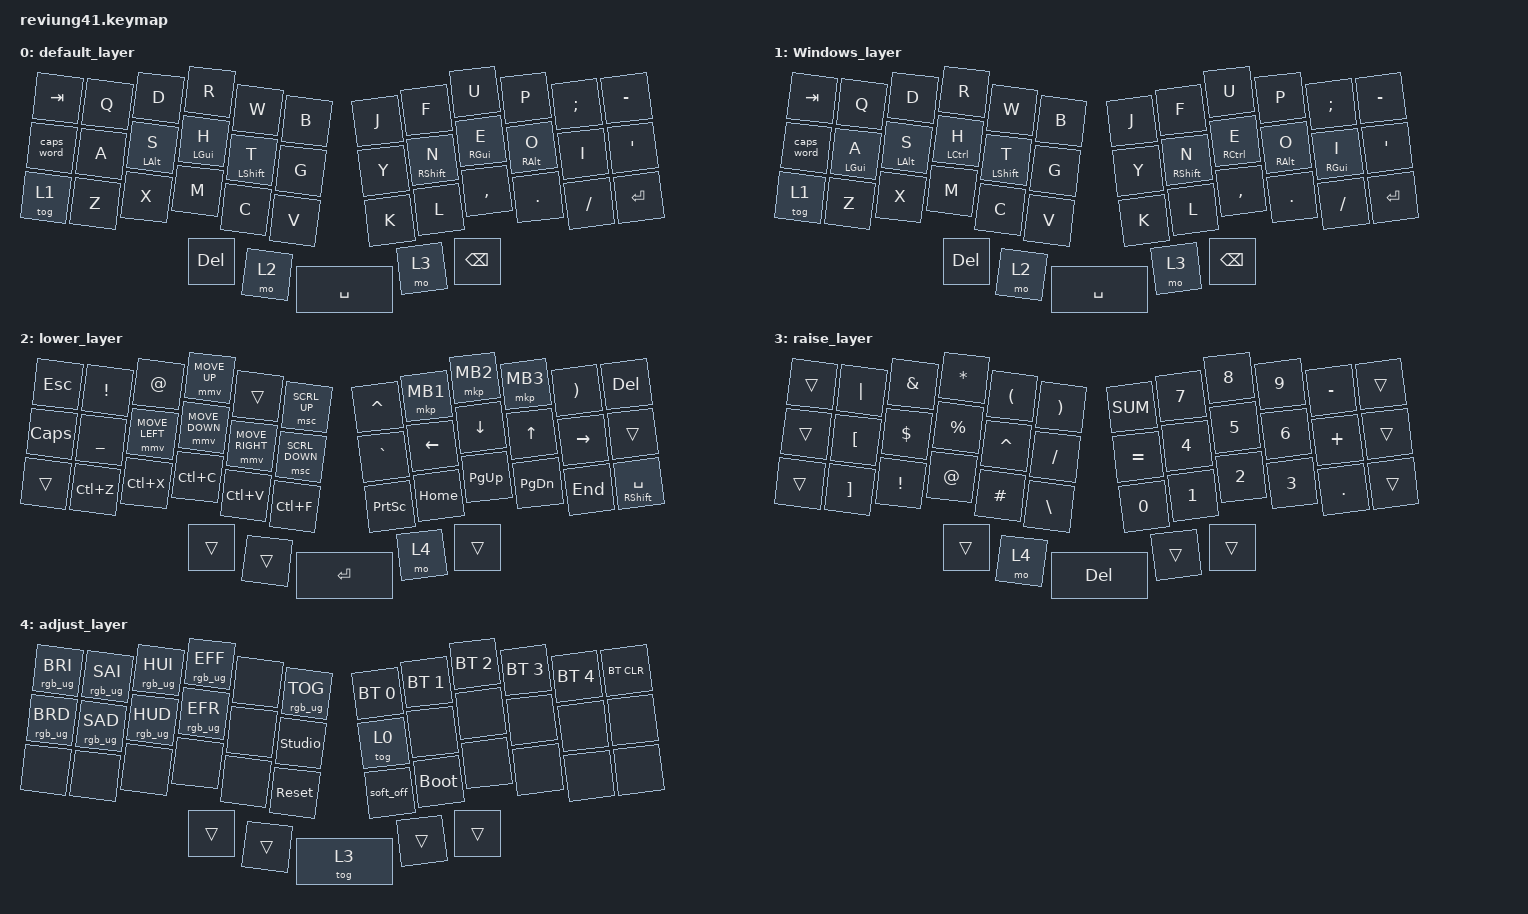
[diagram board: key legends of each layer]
/*
 * Copyright (c) 2020 The ZMK Contributors
 *
 * SPDX-License-Identifier: MIT
 */

#include <behaviors.dtsi>
#include <dt-bindings/zmk/keys.h>
#include <dt-bindings/zmk/bt.h>
#include <dt-bindings/zmk/rgb.h>
#include <dt-bindings/zmk/outputs.h>
#include <dt-bindings/zmk/backlight.h>
#include <dt-bindings/zmk/rgb.h>
#include <dt-bindings/zmk/pointing.h>
#define ZMK_POINTING_DEFAULT_MOVE_VAL 1500  // default: 600
#define ZMK_POINTING_DEFAULT_SCRL_VAL 20    // default: 10

&led_strip {
    chain-length = <11>;
};

/ {
    macros {
        SUM: SUM {
            compatible = "zmk,behavior-macro";
            #binding-cells = <0>;
            bindings
                = <&macro_tap &kp S &kp U &kp M &kp EQUAL &kp LPAR &kp RPAR &kp RIGHT>
                ;
        };
    };
};

/ {
    behaviors {
        bhm: balanced_homerow_mods {
            compatible = "zmk,behavior-hold-tap";
            #binding-cells = <2>;
            tapping-term-ms = <200>;    // <---[[moderate duration]]
            quick-tap-ms = <0>;
            flavor = "balanced";
            bindings = <&kp>, <&kp>;
        };
    };
};
/{
        keymap {
                compatible = "zmk,keymap";

                default_layer {
// -------------------------------------------------------------------------------------
// |  TAB     | Q      | D      | R       | W        |  B  |   |  J  |  F        |  U       |  P      |  ;     |    -   |
// | CpsWrd   | A | S(Alt) | H(GUI) | T(shift) |  G  |   |  Y  |  N(GUI) |  E(Ctrl) |  O(Alt) | I | '      |
// | TglLower | Z      | X      | M       | C        |  V  |   |  K  |  L        |  ,       |  .      |  /     | RETURN |
//                                      | DEL | LWR |  SPC  | RSE  | BSPC |
                        bindings = <
   &kp TAB    &kp Q &kp D &kp R &kp W         &kp B   &kp J &kp F        &kp U     &kp P    &kp SEMI &kp MINUS
   &caps_word &kp A &bhm LALT S &bhm LGUI H &bhm LSHIFT T &kp G   &kp Y &bhm RSHFT N &bhm RGUI E &bhm RALT O &kp I    &kp SQT
   &tog 1  &kp Z &kp X &kp M &kp C         &kp V   &kp K &kp L        &kp COMMA &kp DOT  &kp FSLH &kp RETURN
                       &kp DEL  &mo 2 &kp SPACE &mo 3  &kp BSPC
                        >;
                };

                Windows_layer {
// -------------------------------------------------------------------------------------
// |  TAB     | Q      | D      | R       | W        |  B  |   |  J  |  F        |  U       |  P      |  ;     |    -   |
// | CpsWrd   | A(GUI) | S(Alt) | H(Ctrl) | T(shift) |  G  |   |  Y  |  N(shift) |  E(ctrl) |  O(Alt) | I(GUI) | '      |
// | TglLower | Z      | X      | M       | C        |  V  |   |  K  |  L        |  ,       |  .      |  /     | RETURN |
//                                      | DEL | LWR |  SPC  | RSE  | BSPC |
                        bindings = <
   &kp TAB    &kp Q &kp D &kp R &kp W         &kp B   &kp J &kp F        &kp U     &kp P    &kp SEMI &kp MINUS
   &caps_word &bhm LGUI A &bhm LALT S &bhm LCTRL H &bhm LSHIFT T &kp G   &kp Y &bhm RSHFT N &bhm RCTRL E &bhm RALT O &bhm RGUI I    &kp SQT
   &tog 1  &kp Z &kp X &kp M &kp C         &kp V   &kp K &kp L        &kp COMMA &kp DOT  &kp FSLH &kp RETURN
                       &kp DEL  &mo 2 &kp SPACE &mo 3  &kp BSPC
                        >;
                };


                lower_layer {
// ------------------------------------------------------------------------------------
// | ESC     |  !  |  @    | UP   |      | scrlup   |   |  ^  | LCLK | RCLK | MCLCK |  )  | DEL    |
// | CPSlock |  _  | RIGHT | DOWN | LEFT | scrldwn  |   |  `  | LEFT | DOWN | UP    | RGT |  ~     |
// |         | Undo| Cut   |Copy  |Paste | Find     |   | PRSC| HOME | PGUP | PGDN  | END | SHFT(SPACE) |
//                                     |     |     | RET | ADJ |     |
                        bindings = <
   &kp ESC  &kp EXCL  &kp AT          &mmv MOVE_UP   &trans          &msc SCRL_UP   &kp CARET &mkp MB1 &mkp MB2  &mkp MB3  &kp RPAR  &kp DEL
   &kp CAPS &kp UNDER &mmv MOVE_LEFT  &mmv MOVE_DOWN &mmv MOVE_RIGHT &msc SCRL_DOWN &kp GRAVE &kp LEFT &kp DOWN  &kp UP    &kp RIGHT &trans
   &trans   &kp LC(Z) &kp LC(X)       &kp LC(C)      &kp LC(V)       &kp LC(F)      &kp PSCRN &kp HOME &kp PG_UP &kp PG_DN &kp END   &mt RSHFT SPACE
                                            &trans            &trans          &kp RET        &mo 4       &trans
                        >;
                };

                raise_layer {
// ----------------------------------------------------------------------------
// |    | "|" |  &  |  *  |  (   |  )  |   | =sum() | 7  |  8 | 9  | -  |   |
// |    |  [  |  $  |  %  |  ^   |  /  |   | =      | 4  | 5  | 6  | +  |   |
// |    |  ]  |  !  |  @  |  #   |  \  |   | 0      | 1  | 2  | 3  | .  |   |
//                       |     | ADJ | DEL |    |     |
                        bindings = <
   &trans &kp PIPE  &kp AMPS  &kp ASTRK &kp LPAR  &kp RPAR      &SUM       &kp N7    &kp N8    &kp N9    &kp MINUS &trans
   &trans &kp LBKT  &kp DLLR  &kp PRCNT &kp CARET &kp FSLH      &kp EQUAL  &kp N4    &kp N5    &kp N6    &kp PLUS  &trans
   &trans &kp RBKT  &kp EXCL  &kp AT    &kp HASH  &kp BSLH      &kp N0     &kp N1    &kp N2    &kp N3    &kp DOT   &trans
                                &trans      &mo 4       &kp DEL        &trans      &trans
                        >;
                };

                adjust_layer {
// -----------------------------------------------------------------------------------------
// | RGB BRI+ | RGB SAT+ | RGB HUE+ | RGB ANI+ |    | RGB TOG |   |  BT1    | BT2           | BT3 | BT4 | BT5 | BT CLR |
// | RGB BRI- | RGB SAT- | RGB HUE- | RGB ANI- |    |         |   | Studio  | defaulttog    |     |     |        |
// |          |          |          |          |    |  RESET  |   |SOFT OFF | Bootloader    |     |     |     |        |
//                                               |     |     |     |     |     |
                        bindings = <
   &rgb_ug RGB_BRI &rgb_ug RGB_SAI &rgb_ug RGB_HUI &rgb_ug RGB_EFF &none &rgb_ug RGB_TOG &bt BT_SEL 0 &bt BT_SEL 1 &bt BT_SEL 2 &bt BT_SEL 3 &bt BT_SEL 4 &bt BT_CLR
   &rgb_ug RGB_BRD &rgb_ug RGB_SAD &rgb_ug RGB_HUD &rgb_ug RGB_EFR &none &studio_unlock  &tog 0        &none        &none        &none        &none        &none
   &none           &none           &none           &none           &none &sys_reset      &soft_off   &bootloader  &none        &none        &none        &none
                                                             &trans      &trans       &tog 3        &trans      &trans
                        >;
                };
        };
};
